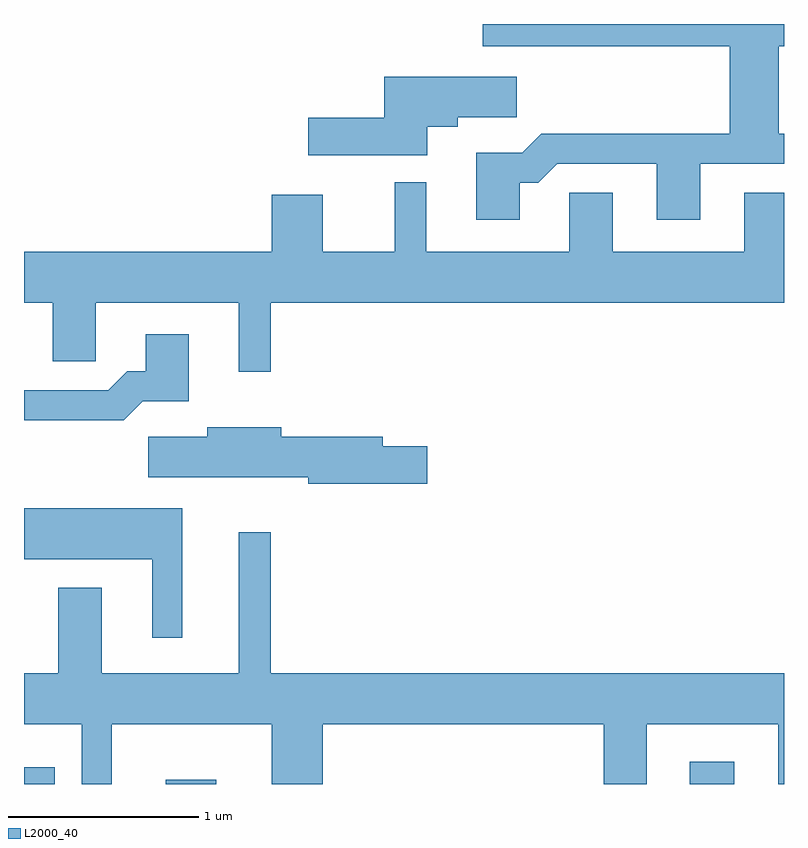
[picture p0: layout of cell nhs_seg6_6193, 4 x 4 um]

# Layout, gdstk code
import gdstk
lib = gdstk.Library(unit=1e-6, precision=1e-09)
def R(c, l, rs):  # rectangles x0, y0, x1, y1
    for r in rs: c.add(gdstk.rectangle(r[:2], r[2:], *l))
def P(c, l, *ps):  # polygons
    for p in ps: c.add(gdstk.Polygon(p, *l))
L2000_40 = (2000, 40)

nhs_seg6_6193 = lib.new_cell('nhs_seg6_6193')
R(nhs_seg6_6193, L2000_40, [(373.611,1554.162,373.773,1554.249), (374.356,1554.162,374.624,1554.184), (377.116,1554.162,377.349,1554.279)])
P(nhs_seg6_6193, L2000_40, [(376.219,1557.326),(376.317,1557.326),(376.417,1557.426),(376.941,1557.426),(376.941,1557.131),(377.169,1557.131),(377.169,1557.426),(377.611,1557.426),(377.611,1557.584),(377.584,1557.584),(377.584,1558.046),(377.611,1558.046),(377.611,1558.162),(376.026,1558.162),(376.026,1558.046),(377.326,1558.046),(377.326,1557.584),(376.334,1557.584),(376.234,1557.484),(375.991,1557.484),(375.991,1557.131),(376.219,1557.131)],
  [(375.734,1557.621),(375.894,1557.621),(375.894,1557.671),(376.204,1557.671),(376.204,1557.884),(375.506,1557.884),(375.506,1557.669),(375.106,1557.669),(375.106,1557.471),(375.734,1557.471)],
  [(374.909,1556.696),(377.611,1556.696),(377.611,1557.274),(377.401,1557.274),(377.401,1556.964),(376.709,1556.964),(376.709,1557.274),(376.481,1557.274),(376.481,1556.964),(375.729,1556.964),(375.729,1557.328),(375.561,1557.328),(375.561,1556.964),(375.184,1556.964),(375.184,1557.264),(374.916,1557.264),(374.916,1556.964),(373.611,1556.964),(373.611,1556.696),(373.761,1556.696),(373.761,1556.386),(373.989,1556.386),(373.989,1556.696),(374.741,1556.696),(374.741,1556.333),(374.909,1556.333)],
  [(374.237,1556.176),(374.479,1556.176),(374.479,1556.529),(374.251,1556.529),(374.251,1556.334),(374.154,1556.334),(374.054,1556.234),(373.611,1556.234),(373.611,1556.076),(374.137,1556.076)],
  [(375.734,1555.939),(375.499,1555.939),(375.499,1555.989),(374.964,1555.989),(374.964,1556.039),(374.576,1556.039),(374.576,1555.989),(374.266,1555.989),(374.266,1555.776),(375.106,1555.776),(375.106,1555.741),(375.734,1555.741)],
  [(374.444,1555.614),(373.611,1555.614),(373.611,1555.346),(374.286,1555.346),(374.286,1554.933),(374.444,1554.933)],
  [(374.074,1554.476),(374.916,1554.476),(374.916,1554.162),(375.184,1554.162),(375.184,1554.476),(376.661,1554.476),(376.661,1554.162),(376.889,1554.162),(376.889,1554.476),(377.581,1554.476),(377.581,1554.162),(377.611,1554.162),(377.611,1554.744),(374.909,1554.744),(374.909,1555.488),(374.741,1555.488),(374.741,1554.744),(374.019,1554.744),(374.019,1555.194),(373.791,1555.194),(373.791,1554.744),(373.611,1554.744),(373.611,1554.476),(373.916,1554.476),(373.916,1554.162),(374.074,1554.162)])

lib.write_gds('nhs_seg6_6193.gds')
